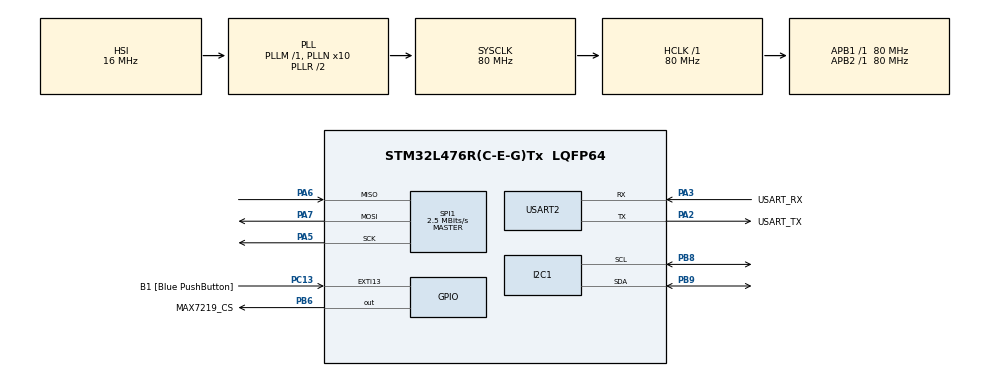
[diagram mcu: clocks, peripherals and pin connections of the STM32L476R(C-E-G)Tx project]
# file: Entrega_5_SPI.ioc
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I2C1.Timing=0x10909CEC
Mcu.Family=STM32L4
Mcu.Name=STM32L476R(C-E-G)Tx
Mcu.Package=LQFP64
NVIC.I2C1_ER_IRQn=true\:0\:0\:false\:false\:true\:true\:true\:true
NVIC.I2C1_EV_IRQn=true\:0\:0\:false\:false\:true\:true\:true\:true
NVIC.PriorityGroup=NVIC_PRIORITYGROUP_4
NVIC.USART2_IRQn=true\:0\:0\:false\:false\:true\:true\:true\:true
PA13\ (JTMS-SWDIO).GPIO_Label=TMS
PA13\ (JTMS-SWDIO).Mode=Serial_Wire
PA13\ (JTMS-SWDIO).Signal=SYS_JTMS-SWDIO
PA14\ (JTCK-SWCLK).GPIO_Label=TCK
PA14\ (JTCK-SWCLK).Mode=Serial_Wire
PA14\ (JTCK-SWCLK).Signal=SYS_JTCK-SWCLK
PA2.GPIO_Label=USART_TX
PA2.GPIO_Mode=GPIO_MODE_AF_PP
PA2.GPIO_PuPd=GPIO_NOPULL
PA2.GPIO_Speed=GPIO_SPEED_FREQ_VERY_HIGH
PA2.Mode=Asynchronous
PA2.Signal=USART2_TX
PA3.GPIO_Label=USART_RX
PA3.GPIO_Mode=GPIO_MODE_AF_PP
PA3.GPIO_PuPd=GPIO_NOPULL
PA3.GPIO_Speed=GPIO_SPEED_FREQ_VERY_HIGH
PA3.Mode=Asynchronous
PA3.Signal=USART2_RX
PA5.Mode=Full_Duplex_Master
PA5.Signal=SPI1_SCK
PA6.Mode=Full_Duplex_Master
PA6.Signal=SPI1_MISO
PA7.Mode=Full_Duplex_Master
PA7.Signal=SPI1_MOSI
PB3\ (JTDO-TRACESWO).GPIO_Label=SWO
PB3\ (JTDO-TRACESWO).Signal=SYS_JTDO-SWO
PB6.GPIO_Label=MAX7219_CS
PB6.PinState=GPIO_PIN_SET
PB6.Signal=GPIO_Output
PB8.Mode=I2C
PB8.Signal=I2C1_SCL
PB9.Mode=I2C
PB9.Signal=I2C1_SDA
PC13.GPIO_Label=B1 [Blue PushButton]
PC13.GPIO_ModeDefaultEXTI=GPIO_MODE_IT_FALLING
PC13.GPIO_PuPd=GPIO_NOPULL
PC13.Signal=GPXTI13
PC14-OSC32_IN\ (PC14).Mode=LSE-External-Oscillator
PC14-OSC32_IN\ (PC14).Signal=RCC_OSC32_IN
PC15-OSC32_OUT\ (PC15).Mode=LSE-External-Oscillator
PC15-OSC32_OUT\ (PC15).Signal=RCC_OSC32_OUT
PH0-OSC_IN\ (PH0).Signal=RCC_OSC_IN
PH1-OSC_OUT\ (PH1).Signal=RCC_OSC_OUT
ProjectManager.HeapSize=0x200
ProjectManager.StackSize=0x400
ProjectManager.TargetToolchain=STM32CubeIDE
RCC.ADCFreq_Value=64000000
RCC.AHBFreq_Value=80000000
RCC.APB1Freq_Value=80000000
RCC.APB1TimFreq_Value=80000000
RCC.APB2Freq_Value=80000000
RCC.APB2TimFreq_Value=80000000
RCC.CortexFreq_Value=80000000
RCC.HCLKFreq_Value=80000000
RCC.HSE_VALUE=8000000
RCC.HSI_VALUE=16000000
RCC.MSI_VALUE=4000000
RCC.PLLN=10
RCC.PLLSourceVirtual=RCC_PLLSOURCE_HSI
RCC.PREFETCH_ENABLE=1
RCC.SYSCLKFreq_VALUE=80000000
RCC.SYSCLKSource=RCC_SYSCLKSOURCE_PLLCLK
RCC.USBFreq_Value=64000000
RCC.VCOOutputFreq_Value=160000000
SPI1.BaudRatePrescaler=SPI_BAUDRATEPRESCALER_32
SPI1.CalculateBaudRate=2.5 MBits/s
SPI1.DataSize=SPI_DATASIZE_8BIT
SPI1.Direction=SPI_DIRECTION_2LINES
SPI1.Mode=SPI_MODE_MASTER
SPI1.NSSPMode=SPI_NSS_PULSE_DISABLE
SPI1.VirtualType=VM_MASTER
USART2.VirtualMode-Asynchronous=VM_ASYNC
board=NUCLEO-L476RG

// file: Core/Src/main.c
/* USER CODE BEGIN Header */
/**
  ******************************************************************************
  * @file           : main.c
  * @brief          : Caso de teste - NUCLEO-L476RG + PCF8591 + MAX7219
  ******************************************************************************
  */
/* USER CODE END Header */

#include "main.h"

/* USER CODE BEGIN Includes */
#include <string.h>
#include <stdio.h>
#include <stdlib.h>
#include <ctype.h>
#include <stdarg.h>
/* USER CODE END Includes */

/* USER CODE BEGIN PTD */

typedef enum
{
  DISPLAY_NONE = 0,
  DISPLAY_TEMP,
  DISPLAY_VOLT,
  DISPLAY_LDR
} DisplayMode_t;

typedef enum
{
  PCF_OP_NONE = 0,
  PCF_OP_READ_DIRECT,
  PCF_OP_READ_DISPLAY
} PcfOperation_t;

/* USER CODE END PTD */

/* USER CODE BEGIN PD */

#define PCF8591_ADDR          (0x48 << 1)
#define PCF8591_CH0           0x00
#define PCF8591_CH1           0x01
#define PCF8591_CH3           0x03
#define PCF8591_DAC_ENABLE    0x40

/*
  MAPEAMENTO CORRIGIDO:
  LDR  = AIN0
  TEMP = AIN1
  VOLT = AIN3
*/
#define PCF8591_CH_LDR        PCF8591_CH0
#define PCF8591_CH_TEMP       PCF8591_CH1
#define PCF8591_CH_VOLT       PCF8591_CH3

/* MAX7219 registers */
#define MAX7219_REG_NOOP      0x00
#define MAX7219_REG_DIGIT0    0x01
#define MAX7219_REG_DECODE    0x09
#define MAX7219_REG_INTENSITY 0x0A
#define MAX7219_REG_SCANLIMIT 0x0B
#define MAX7219_REG_SHUTDOWN  0x0C
#define MAX7219_REG_TEST      0x0F

#define UART_RX_BUFFER_SIZE   64

/* USER CODE END PD */

I2C_HandleTypeDef hi2c1;

SPI_HandleTypeDef hspi1;

UART_HandleTypeDef huart2;

/* USER CODE BEGIN PV */

static uint8_t uart_rx_byte;
static char uart_rx_buffer[UART_RX_BUFFER_SIZE];
static volatile uint8_t uart_rx_index = 0;
static volatile uint8_t uart_cmd_ready = 0;

static uint8_t i2c_tx_buffer[2];
static uint8_t i2c_rx_buffer[2];

static uint8_t last_dac_value = 0;

static DisplayMode_t current_mode = DISPLAY_NONE;
static uint8_t current_sensor_value = 0;
static uint32_t last_toggle_time = 0;
static uint8_t toggle_state = 0;

static volatile uint8_t current_channel = 0;
static volatile PcfOperation_t pending_pcf_operation = PCF_OP_NONE;
static volatile DisplayMode_t pending_display_mode = DISPLAY_NONE;

static const uint8_t CHAR_T[8] =
{
  0b11111111,
  0b00011000,
  0b00011000,
  0b00011000,
  0b00011000,
  0b00011000,
  0b00011000,
  0b00000000
};

static const uint8_t CHAR_V[8] =
{
  0b10000001,
  0b10000001,
  0b01000010,
  0b01000010,
  0b00100100,
  0b00100100,
  0b00011000,
  0b00000000
};

static const uint8_t CHAR_L[8] =
{
  0b10000000,
  0b10000000,
  0b10000000,
  0b10000000,
  0b10000000,
  0b10000000,
  0b11111111,
  0b00000000
};

static const uint8_t CHAR_PLUS[8] =
{
  0b00000000,
  0b00011000,
  0b00011000,
  0b01111110,
  0b01111110,
  0b00011000,
  0b00011000,
  0b00000000
};

static const uint8_t CHAR_MINUS[8] =
{
  0b00000000,
  0b00000000,
  0b00000000,
  0b01111110,
  0b01111110,
  0b00000000,
  0b00000000,
  0b00000000
};

static const uint8_t CHAR_CHECKER[8] =
{
  0b10101010,
  0b01010101,
  0b10101010,
  0b01010101,
  0b10101010,
  0b01010101,
  0b10101010,
  0b01010101
};

/* USER CODE END PV */

void SystemClock_Config(void);
static void MX_GPIO_Init(void);
static void MX_USART2_UART_Init(void);
static void MX_I2C1_Init(void);
static void MX_SPI1_Init(void);

/* USER CODE BEGIN PFP */

static void UART_Print(const char *msg);
static void UART_Printf(const char *fmt, ...);

static void MAX7219_Write(uint8_t reg, uint8_t data);
static void MAX7219_Init(void);
static void MAX7219_Clear(void);
static void MAX7219_DisplayBitmap(const uint8_t bitmap[8]);
static void MAX7219_TestPattern(void);

static void PCF8591_StartRead(uint8_t channel, DisplayMode_t display_mode);
static const char *PCF8591_ChannelName(uint8_t channel);

static void Process_Command(char *cmd);
static void Display_UpdateTask(void);

/* USER CODE END PFP */

/* USER CODE BEGIN 0 */

static void UART_Print(const char *msg)
{
  HAL_UART_Transmit(&huart2, (uint8_t *)msg, strlen(msg), 100);
}

static void UART_Printf(const char *fmt, ...)
{
  char buffer[160];

  va_list args;
  va_start(args, fmt);
  vsnprintf(buffer, sizeof(buffer), fmt, args);
  va_end(args);

  UART_Print(buffer);
}

static void MAX7219_Write(uint8_t reg, uint8_t data)
{
  uint8_t tx_data[2];

  tx_data[0] = reg;
  tx_data[1] = data;

  HAL_GPIO_WritePin(MAX7219_CS_GPIO_Port, MAX7219_CS_Pin, GPIO_PIN_RESET);
  HAL_SPI_Transmit(&hspi1, tx_data, 2, HAL_MAX_DELAY);
  HAL_GPIO_WritePin(MAX7219_CS_GPIO_Port, MAX7219_CS_Pin, GPIO_PIN_SET);
}

static void MAX7219_Init(void)
{
  HAL_Delay(100);

  MAX7219_Write(MAX7219_REG_TEST, 0x00);
  MAX7219_Write(MAX7219_REG_DECODE, 0x00);
  MAX7219_Write(MAX7219_REG_SCANLIMIT, 0x07);
  MAX7219_Write(MAX7219_REG_INTENSITY, 0x03);
  MAX7219_Write(MAX7219_REG_SHUTDOWN, 0x01);

  MAX7219_Clear();
}

static void MAX7219_Clear(void)
{
  for (uint8_t i = 1; i <= 8; i++)
  {
    MAX7219_Write(i, 0x00);
  }
}

static void MAX7219_DisplayBitmap(const uint8_t bitmap[8])
{
  for (uint8_t row = 0; row < 8; row++)
  {
    MAX7219_Write(row + 1, bitmap[row]);
  }
}

static void MAX7219_TestPattern(void)
{
  MAX7219_DisplayBitmap(CHAR_CHECKER);
}

static HAL_StatusTypeDef __attribute__((unused)) PCF8591_ReadChannel(uint8_t channel, uint8_t *value)
{
  if (channel > 3 || value == NULL)
  {
    return HAL_ERROR;
  }

  uint8_t control_byte = PCF8591_DAC_ENABLE | (channel & 0x03);
  uint8_t rx_data[2] = {0};

  if (HAL_I2C_Master_Transmit(&hi2c1, PCF8591_ADDR, &control_byte, 1, 100) != HAL_OK)
  {
    return HAL_ERROR;
  }

  if (HAL_I2C_Master_Receive(&hi2c1, PCF8591_ADDR, rx_data, 2, 100) != HAL_OK)
  {
    return HAL_ERROR;
  }

  *value = rx_data[1];
  return HAL_OK;
}

static HAL_StatusTypeDef __attribute__((unused)) PCF8591_SetDAC(uint8_t value)
{
  uint8_t tx_data[2];

  tx_data[0] = PCF8591_DAC_ENABLE;
  tx_data[1] = value;

  if (HAL_I2C_Master_Transmit(&hi2c1, PCF8591_ADDR, tx_data, 2, 100) != HAL_OK)
  {
    return HAL_ERROR;
  }

  last_dac_value = value;
  return HAL_OK;
}

static const char *PCF8591_ChannelName(uint8_t channel)
{
  if (channel == PCF8591_CH0)
  {
    return "AIN0";
  }
  if (channel == PCF8591_CH1)
  {
    return "AIN1";
  }
  if (channel == PCF8591_CH3)
  {
    return "AIN3";
  }

  return "AIN?";
}

static void PCF8591_StartRead(uint8_t channel, DisplayMode_t display_mode)
{
  if (pending_pcf_operation != PCF_OP_NONE)
  {
    UART_Print("I2C ocupado. Aguarde a operacao atual terminar.\r\n");
    return;
  }

  current_channel = channel;
  pending_display_mode = display_mode;
  pending_pcf_operation = (display_mode == DISPLAY_NONE) ? PCF_OP_READ_DIRECT : PCF_OP_READ_DISPLAY;

  i2c_tx_buffer[0] = PCF8591_DAC_ENABLE | (channel & 0x03);

  if (HAL_I2C_Master_Transmit_IT(&hi2c1, PCF8591_ADDR, i2c_tx_buffer, 1) != HAL_OK)
  {
    pending_pcf_operation = PCF_OP_NONE;
    pending_display_mode = DISPLAY_NONE;
    UART_Print("Erro ao iniciar transmissao I2C\r\n");
  }
}

static void Process_Command(char *cmd)
{
  while (*cmd == ' ' || *cmd == '\t')
  {
    cmd++;
  }

  for (int i = 0; cmd[i] != '\0'; i++)
  {
    if (cmd[i] == '\r' || cmd[i] == '\n')
    {
      cmd[i] = '\0';
      break;
    }
  }

  UART_Printf("\r\nComando recebido: %s\r\n", cmd);

  if (strcmp(cmd, "Temp") == 0)
  {
    UART_Print("Lendo temperatura/AIN1...\r\n");
    PCF8591_StartRead(PCF8591_CH_TEMP, DISPLAY_TEMP);
  }
  else if (strcmp(cmd, "Volt") == 0)
  {
    UART_Print("Lendo tensao/AIN3...\r\n");
    PCF8591_StartRead(PCF8591_CH_VOLT, DISPLAY_VOLT);
  }
  else if (strcmp(cmd, "LDR") == 0)
  {
    UART_Print("Lendo luminosidade/AIN0...\r\n");
    PCF8591_StartRead(PCF8591_CH_LDR, DISPLAY_LDR);
  }
  else if (strcmp(cmd, "Clear") == 0)
  {
    current_mode = DISPLAY_NONE;
    MAX7219_Clear();
    UART_Print("Matriz apagada\r\n");
  }
  else if (strcmp(cmd, "Test") == 0)
  {
    current_mode = DISPLAY_NONE;
    MAX7219_TestPattern();
    UART_Print("Padrao de teste enviado para matriz\r\n");
  }
  else
  {
    UART_Print("Comando desconhecido\r\n");
    UART_Print("Comandos disponiveis:\r\n");
    UART_Print("  Temp\r\n");
    UART_Print("  Volt\r\n");
    UART_Print("  LDR\r\n");
    UART_Print("  Clear\r\n");
    UART_Print("  Test\r\n");
  }
}

static void __attribute__((unused)) UART_CheckCommand(void)
{
  uint8_t rx_char;

  if (HAL_UART_Receive(&huart2, &rx_char, 1, 1) == HAL_OK)
  {
    if (rx_char == '\r' || rx_char == '\n')
    {
      if (uart_rx_index > 0)
      {
        uart_rx_buffer[uart_rx_index] = '\0';
        Process_Command(uart_rx_buffer);
        uart_rx_index = 0;
        memset(uart_rx_buffer, 0, sizeof(uart_rx_buffer));
      }
    }
    else
    {
      if (uart_rx_index < UART_RX_BUFFER_SIZE - 1)
      {
        uart_rx_buffer[uart_rx_index++] = (char)rx_char;
      }
      else
      {
        uart_rx_index = 0;
        memset(uart_rx_buffer, 0, sizeof(uart_rx_buffer));
        UART_Print("\r\nBuffer cheio. Digite o comando novamente.\r\n");
      }
    }
  }
}

static void Display_UpdateTask(void)
{
  if (current_mode == DISPLAY_NONE)
  {
    return;
  }

  if (HAL_GetTick() - last_toggle_time >= 500)
  {
    last_toggle_time = HAL_GetTick();
    toggle_state = !toggle_state;

    if (toggle_state == 0)
    {
      if (current_mode == DISPLAY_TEMP)
      {
        MAX7219_DisplayBitmap(CHAR_T);
      }
      else if (current_mode == DISPLAY_VOLT)
      {
        MAX7219_DisplayBitmap(CHAR_V);
      }
      else if (current_mode == DISPLAY_LDR)
      {
        MAX7219_DisplayBitmap(CHAR_L);
      }
    }
    else
    {
      if (current_sensor_value < 128)
      {
        MAX7219_DisplayBitmap(CHAR_MINUS);
      }
      else
      {
        MAX7219_DisplayBitmap(CHAR_PLUS);
      }
    }
  }
}

/* USER CODE END 0 */

int main(void)
{
  HAL_Init();

  SystemClock_Config();

  MX_GPIO_Init();
  MX_USART2_UART_Init();
  MX_I2C1_Init();
  MX_SPI1_Init();

  /* USER CODE BEGIN 2 */

  HAL_GPIO_WritePin(MAX7219_CS_GPIO_Port, MAX7219_CS_Pin, GPIO_PIN_SET);

  MAX7219_Init();

  UART_Print("\r\n========================================\r\n");
  UART_Print("NUCLEO-L476RG + PCF8591 + MAX7219\r\n");
  UART_Print("Caso de teste iniciado\r\n");
  UART_Print("Baud: 115200\r\n");
  UART_Print("Digite um comando e pressione ENTER\r\n");
  UART_Print("Mapeamento corrigido:\r\n");
  UART_Print("  Temp -> AIN1\r\n");
  UART_Print("  Volt -> AIN3\r\n");
  UART_Print("  LDR  -> AIN0\r\n");
  UART_Print("Comandos:\r\n");
  UART_Print("  Temp\r\n");
  UART_Print("  Volt\r\n");
  UART_Print("  LDR\r\n");
  UART_Print("  Clear\r\n");
  UART_Print("  Test\r\n");
  UART_Print("========================================\r\n\r\n");

  MAX7219_TestPattern();
  HAL_Delay(1000);
  MAX7219_Clear();

  HAL_UART_Receive_IT(&huart2, &uart_rx_byte, 1);

  /* USER CODE END 2 */

  while (1)
  {
    if (uart_cmd_ready)
    {
      uart_cmd_ready = 0;

      Process_Command(uart_rx_buffer);

      memset(uart_rx_buffer, 0, sizeof(uart_rx_buffer));
    }

    Display_UpdateTask();
  }
}

void SystemClock_Config(void)
{
  RCC_OscInitTypeDef RCC_OscInitStruct = {0};
  RCC_ClkInitTypeDef RCC_ClkInitStruct = {0};

  if (HAL_PWREx_ControlVoltageScaling(PWR_REGULATOR_VOLTAGE_SCALE1) != HAL_OK)
  {
    Error_Handler();
  }

  RCC_OscInitStruct.OscillatorType = RCC_OSCILLATORTYPE_HSI;
  RCC_OscInitStruct.HSIState = RCC_HSI_ON;
  RCC_OscInitStruct.HSICalibrationValue = RCC_HSICALIBRATION_DEFAULT;
  RCC_OscInitStruct.PLL.PLLState = RCC_PLL_ON;
  RCC_OscInitStruct.PLL.PLLSource = RCC_PLLSOURCE_HSI;
  RCC_OscInitStruct.PLL.PLLM = 1;
  RCC_OscInitStruct.PLL.PLLN = 10;
  RCC_OscInitStruct.PLL.PLLP = RCC_PLLP_DIV7;
  RCC_OscInitStruct.PLL.PLLQ = RCC_PLLQ_DIV2;
  RCC_OscInitStruct.PLL.PLLR = RCC_PLLR_DIV2;

  if (HAL_RCC_OscConfig(&RCC_OscInitStruct) != HAL_OK)
  {
    Error_Handler();
  }

  RCC_ClkInitStruct.ClockType = RCC_CLOCKTYPE_HCLK | RCC_CLOCKTYPE_SYSCLK
                              | RCC_CLOCKTYPE_PCLK1 | RCC_CLOCKTYPE_PCLK2;
  RCC_ClkInitStruct.SYSCLKSource = RCC_SYSCLKSOURCE_PLLCLK;
  RCC_ClkInitStruct.AHBCLKDivider = RCC_SYSCLK_DIV1;
  RCC_ClkInitStruct.APB1CLKDivider = RCC_HCLK_DIV1;
  RCC_ClkInitStruct.APB2CLKDivider = RCC_HCLK_DIV1;

  if (HAL_RCC_ClockConfig(&RCC_ClkInitStruct, FLASH_LATENCY_4) != HAL_OK)
  {
    Error_Handler();
  }
}

static void MX_I2C1_Init(void)
{
  hi2c1.Instance = I2C1;
  hi2c1.Init.Timing = 0x10909CEC;
  hi2c1.Init.OwnAddress1 = 0;
  hi2c1.Init.AddressingMode = I2C_ADDRESSINGMODE_7BIT;
  hi2c1.Init.DualAddressMode = I2C_DUALADDRESS_DISABLE;
  hi2c1.Init.OwnAddress2 = 0;
  hi2c1.Init.OwnAddress2Masks = I2C_OA2_NOMASK;
  hi2c1.Init.GeneralCallMode = I2C_GENERALCALL_DISABLE;
  hi2c1.Init.NoStretchMode = I2C_NOSTRETCH_DISABLE;

  if (HAL_I2C_Init(&hi2c1) != HAL_OK)
  {
    Error_Handler();
  }

  if (HAL_I2CEx_ConfigAnalogFilter(&hi2c1, I2C_ANALOGFILTER_ENABLE) != HAL_OK)
  {
    Error_Handler();
  }

  if (HAL_I2CEx_ConfigDigitalFilter(&hi2c1, 0) != HAL_OK)
  {
    Error_Handler();
  }
}

static void MX_SPI1_Init(void)
{
  hspi1.Instance = SPI1;
  hspi1.Init.Mode = SPI_MODE_MASTER;
  hspi1.Init.Direction = SPI_DIRECTION_2LINES;
  hspi1.Init.DataSize = SPI_DATASIZE_8BIT;
  hspi1.Init.CLKPolarity = SPI_POLARITY_LOW;
  hspi1.Init.CLKPhase = SPI_PHASE_1EDGE;
  hspi1.Init.NSS = SPI_NSS_SOFT;
  hspi1.Init.BaudRatePrescaler = SPI_BAUDRATEPRESCALER_32;
  hspi1.Init.FirstBit = SPI_FIRSTBIT_MSB;
  hspi1.Init.TIMode = SPI_TIMODE_DISABLE;
  hspi1.Init.CRCCalculation = SPI_CRCCALCULATION_DISABLE;
  hspi1.Init.CRCPolynomial = 7;
  hspi1.Init.CRCLength = SPI_CRC_LENGTH_DATASIZE;
  hspi1.Init.NSSPMode = SPI_NSS_PULSE_DISABLE;

  if (HAL_SPI_Init(&hspi1) != HAL_OK)
  {
    Error_Handler();
  }
}

static void MX_USART2_UART_Init(void)
{
  huart2.Instance = USART2;
  huart2.Init.BaudRate = 115200;
  huart2.Init.WordLength = UART_WORDLENGTH_8B;
  huart2.Init.StopBits = UART_STOPBITS_1;
  huart2.Init.Parity = UART_PARITY_NONE;
  huart2.Init.Mode = UART_MODE_TX_RX;
  huart2.Init.HwFlowCtl = UART_HWCONTROL_NONE;
  huart2.Init.OverSampling = UART_OVERSAMPLING_16;
  huart2.Init.OneBitSampling = UART_ONE_BIT_SAMPLE_DISABLE;
  huart2.AdvancedInit.AdvFeatureInit = UART_ADVFEATURE_NO_INIT;

  if (HAL_UART_Init(&huart2) != HAL_OK)
  {
    Error_Handler();
  }
}

static void MX_GPIO_Init(void)
{
  GPIO_InitTypeDef GPIO_InitStruct = {0};

  __HAL_RCC_GPIOC_CLK_ENABLE();
  __HAL_RCC_GPIOH_CLK_ENABLE();
  __HAL_RCC_GPIOA_CLK_ENABLE();
  __HAL_RCC_GPIOB_CLK_ENABLE();

  HAL_GPIO_WritePin(MAX7219_CS_GPIO_Port, MAX7219_CS_Pin, GPIO_PIN_SET);

  GPIO_InitStruct.Pin = B1_Pin;
  GPIO_InitStruct.Mode = GPIO_MODE_IT_FALLING;
  GPIO_InitStruct.Pull = GPIO_NOPULL;
  HAL_GPIO_Init(B1_GPIO_Port, &GPIO_InitStruct);

  GPIO_InitStruct.Pin = MAX7219_CS_Pin;
  GPIO_InitStruct.Mode = GPIO_MODE_OUTPUT_PP;
  GPIO_InitStruct.Pull = GPIO_NOPULL;
  GPIO_InitStruct.Speed = GPIO_SPEED_FREQ_LOW;
  HAL_GPIO_Init(MAX7219_CS_GPIO_Port, &GPIO_InitStruct);
}

/* USER CODE BEGIN 4 */

void HAL_UART_RxCpltCallback(UART_HandleTypeDef *huart)
{
  if (huart->Instance == USART2)
  {
    if ((uart_rx_byte == '\r') || (uart_rx_byte == '\n'))
    {
      if ((uart_rx_index > 0) && (uart_cmd_ready == 0))
      {
        uart_rx_buffer[uart_rx_index] = '\0';
        uart_cmd_ready = 1;
        uart_rx_index = 0;
      }
    }
    else if (uart_cmd_ready == 0)
    {
      if (uart_rx_index < (UART_RX_BUFFER_SIZE - 1))
      {
        uart_rx_buffer[uart_rx_index++] = (char)uart_rx_byte;
      }
      else
      {
        uart_rx_index = 0;
        memset(uart_rx_buffer, 0, sizeof(uart_rx_buffer));
        UART_Print("\r\nBuffer cheio. Digite novamente.\r\n");
      }
    }

    HAL_UART_Receive_IT(&huart2, &uart_rx_byte, 1);
  }
}

void HAL_I2C_MasterTxCpltCallback(I2C_HandleTypeDef *hi2c)
{
  if (hi2c->Instance == I2C1)
  {
    if ((pending_pcf_operation == PCF_OP_READ_DIRECT) ||
        (pending_pcf_operation == PCF_OP_READ_DISPLAY))
    {
      if (HAL_I2C_Master_Receive_IT(&hi2c1, PCF8591_ADDR, i2c_rx_buffer, 2) != HAL_OK)
      {
        pending_pcf_operation = PCF_OP_NONE;
        pending_display_mode = DISPLAY_NONE;
        UART_Print("Erro ao iniciar leitura I2C\r\n");
      }
    }
  }
}

void HAL_I2C_MasterRxCpltCallback(I2C_HandleTypeDef *hi2c)
{
  if (hi2c->Instance == I2C1)
  {
    if ((pending_pcf_operation == PCF_OP_READ_DIRECT) ||
        (pending_pcf_operation == PCF_OP_READ_DISPLAY))
    {
      uint8_t value = i2c_rx_buffer[1];
      DisplayMode_t display_mode = (DisplayMode_t)pending_display_mode;
      const char *channel_name = PCF8591_ChannelName((uint8_t)current_channel);

      pending_pcf_operation = PCF_OP_NONE;
      pending_display_mode = DISPLAY_NONE;

      if (display_mode == DISPLAY_NONE)
      {
        UART_Printf("%s: %u\r\n", channel_name, value);
      }
      else
      {
        current_sensor_value = value;
        current_mode = display_mode;
        toggle_state = 1;
        last_toggle_time = HAL_GetTick() - 500U;

        if (display_mode == DISPLAY_TEMP)
        {
          UART_Printf("Temperatura/AIN1 = %u\r\n", value);
          UART_Printf("Matriz: T alternando com %c\r\n", (value < 128U) ? '-' : '+');
        }
        else if (display_mode == DISPLAY_VOLT)
        {
          UART_Printf("Tensao/AIN3 = %u\r\n", value);
          UART_Printf("Matriz: V alternando com %c\r\n", (value < 128U) ? '-' : '+');
        }
        else if (display_mode == DISPLAY_LDR)
        {
          UART_Printf("Luminosidade/AIN0 = %u\r\n", value);
          UART_Printf("Matriz: L alternando com %c\r\n", (value < 128U) ? '-' : '+');
        }
      }
    }
  }
}

void HAL_I2C_ErrorCallback(I2C_HandleTypeDef *hi2c)
{
  if (hi2c->Instance == I2C1)
  {
    pending_pcf_operation = PCF_OP_NONE;
    pending_display_mode = DISPLAY_NONE;

    UART_Printf("Erro I2C. Codigo HAL: %lu\r\n", HAL_I2C_GetError(&hi2c1));
  }
}

/* USER CODE END 4 */

void Error_Handler(void)
{
  __disable_irq();

  while (1)
  {
  }
}
